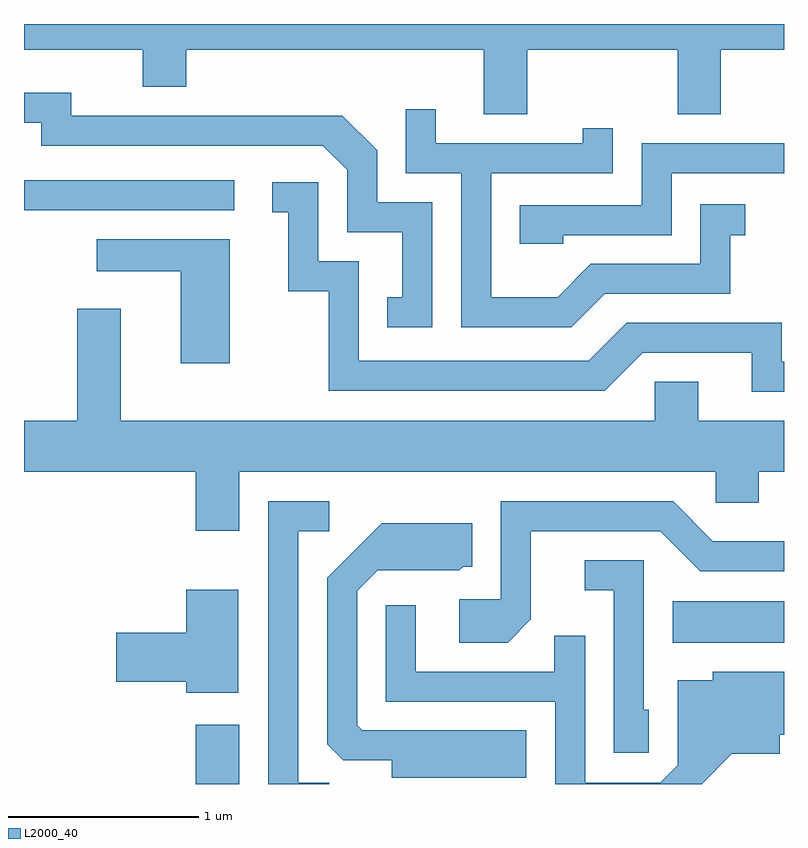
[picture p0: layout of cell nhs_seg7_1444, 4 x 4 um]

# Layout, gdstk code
import gdstk
lib = gdstk.Library(unit=1e-6, precision=1e-09)
def R(c, l, rs):  # rectangles x0, y0, x1, y1
    for r in rs: c.add(gdstk.rectangle(r[:2], r[2:], *l))
def P(c, l, *ps):  # polygons
    for p in ps: c.add(gdstk.Polygon(p, *l))
L2000_40 = (2000, 40)

nhs_seg7_1444 = lib.new_cell('nhs_seg7_1444')
R(nhs_seg7_1444, L2000_40, [(230.516,1688.252,230.744,1688.564), (233.026,1688.996,233.611,1689.214), (229.611,1691.271,230.718,1691.429)])
P(nhs_seg7_1444, L2000_40, [(232.259,1692.116),(233.051,1692.116),(233.051,1691.776),(233.279,1691.776),(233.279,1692.116),(233.611,1692.116),(233.611,1692.252),(229.611,1692.252),(229.611,1692.116),(230.236,1692.116),(230.236,1691.921),(230.464,1691.921),(230.464,1692.116),(232.031,1692.116),(232.031,1691.776),(232.259,1691.776)],
  [(231.759,1691.314),(231.469,1691.314),(231.469,1691.587),(231.287,1691.769),(229.859,1691.769),(229.859,1691.889),(229.611,1691.889),(229.611,1691.731),(229.701,1691.731),(229.701,1691.611),(231.184,1691.611),(231.311,1691.484),(231.311,1691.156),(231.601,1691.156),(231.601,1690.814),(231.523,1690.814),(231.523,1690.656),(231.759,1690.656)],
  [(232.667,1690.831),(233.329,1690.831),(233.329,1691.141),(233.408,1691.141),(233.408,1691.304),(233.171,1691.304),(233.171,1690.989),(232.594,1690.989),(232.419,1690.814),(232.069,1690.814),(232.069,1691.466),(232.709,1691.466),(232.709,1691.703),(232.551,1691.703),(232.551,1691.624),(231.779,1691.624),(231.779,1691.803),(231.621,1691.803),(231.621,1691.466),(231.911,1691.466),(231.911,1690.656),(232.492,1690.656)],
  [(232.449,1691.141),(233.019,1691.141),(233.019,1691.466),(233.611,1691.466),(233.611,1691.624),(232.861,1691.624),(232.861,1691.299),(232.221,1691.299),(232.221,1691.096),(232.449,1691.096)],
  [(233.611,1690.474),(233.599,1690.474),(233.599,1690.679),(232.784,1690.679),(232.584,1690.479),(231.374,1690.479),(231.374,1691.004),(231.159,1691.004),(231.159,1691.419),(230.918,1691.419),(230.918,1691.261),(231.001,1691.261),(231.001,1690.846),(231.216,1690.846),(231.216,1690.321),(232.667,1690.321),(232.867,1690.521),(233.441,1690.521),(233.441,1690.316),(233.611,1690.316)],
  [(230.694,1691.119),(229.993,1691.119),(229.993,1690.951),(230.436,1690.951),(230.436,1690.466),(230.694,1690.466)],
  [(230.744,1689.896),(233.251,1689.896),(233.251,1689.731),(233.479,1689.731),(233.479,1689.896),(233.611,1689.896),(233.611,1690.164),(233.159,1690.164),(233.159,1690.369),(232.931,1690.369),(232.931,1690.164),(230.119,1690.164),(230.119,1690.754),(229.891,1690.754),(229.891,1690.164),(229.611,1690.164),(229.611,1689.896),(230.516,1689.896),(230.516,1689.586),(230.744,1689.586)],
  [(231.218,1688.259),(231.054,1688.259),(231.054,1689.581),(231.218,1689.581),(231.218,1689.739),(230.896,1689.739),(230.896,1688.252),(231.218,1688.252)],
  [(232.279,1689.119),(232.279,1689.581),(232.959,1689.581),(233.169,1689.371),(233.611,1689.371),(233.611,1689.529),(233.237,1689.529),(233.027,1689.739),(232.121,1689.739),(232.121,1689.224),(231.901,1689.224),(231.901,1688.996),(232.157,1688.996)],
  [(232.254,1688.534),(231.392,1688.534),(231.364,1688.562),(231.364,1689.269),(231.472,1689.376),(231.902,1689.376),(231.922,1689.396),(231.969,1689.396),(231.969,1689.624),(231.494,1689.624),(231.206,1689.337),(231.206,1688.462),(231.292,1688.376),(231.546,1688.376),(231.546,1688.286),(232.254,1688.286)],
  [(232.899,1688.644),(232.874,1688.644),(232.874,1689.429),(232.563,1689.429),(232.563,1689.271),(232.716,1689.271),(232.716,1688.416),(232.899,1688.416)],
  [(230.739,1689.274),(230.466,1689.274),(230.466,1689.049),(230.096,1689.049),(230.096,1688.791),(230.466,1688.791),(230.466,1688.731),(230.739,1688.731)],
  [(233.337,1688.411),(233.589,1688.411),(233.589,1688.511),(233.611,1688.511),(233.611,1688.844),(233.236,1688.844),(233.236,1688.799),(233.051,1688.799),(233.051,1688.352),(232.959,1688.259),(232.564,1688.259),(232.564,1689.033),(232.401,1689.033),(232.401,1688.844),(231.674,1688.844),(231.674,1689.193),(231.516,1689.193),(231.516,1688.686),(232.406,1688.686),(232.406,1688.252),(233.178,1688.252)])

lib.write_gds('nhs_seg7_1444.gds')
